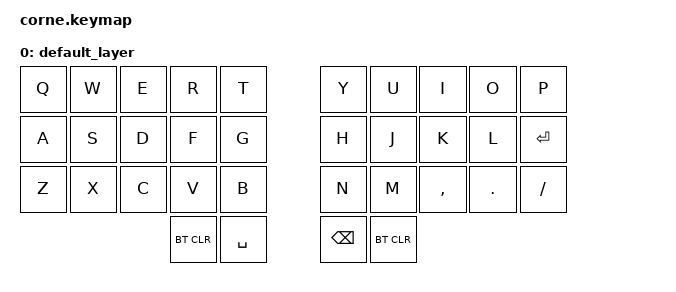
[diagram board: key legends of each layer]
#include <behaviors.dtsi>
#include <dt-bindings/zmk/keys.h>
#include <dt-bindings/zmk/bt.h>

/ {
    keymap {
        compatible = "zmk,keymap";

        default_layer {
            bindings = <
                &kp Q  &kp W  &kp E  &kp R  &kp T        &kp Y  &kp U  &kp I  &kp O  &kp P
                &kp A  &kp S  &kp D  &kp F  &kp G        &kp H  &kp J  &kp K  &kp L  &kp ENTER
                &kp Z  &kp X  &kp C  &kp V  &kp B        &kp N  &kp M  &kp COMMA &kp DOT &kp SLASH
                              &bt BT_CLR &kp SPACE       &kp BSPC &bt BT_CLR
            >;
        };
    };
};
